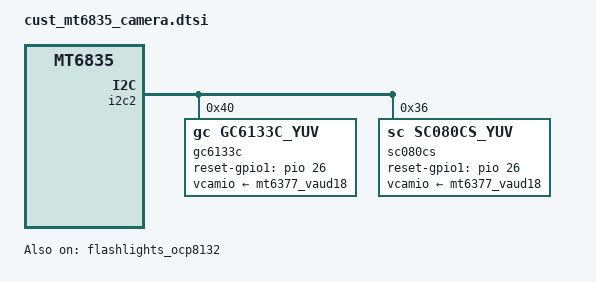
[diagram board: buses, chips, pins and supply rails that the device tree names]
// SPDX-License-Identifier: GPL-2.0
/* Copyright (c) 2020 MediaTek Inc. */
/* CAMERA GPIO standardization */


#include "mediatek/cust_mt6835_camera_common.dtsi"
&kd_camera_hw1 {
	cust-sensor = "ov50d40_truly_main_i_mipi_raw s5kjns_sunny_main_ii_mipi_raw s5kjns_sunny_main_iii_mipi_raw sc520_truly_front_i_mipi_raw gc05a2_qtech_front_ii_mipi_raw";
};

/* 20230620 longcheer zhangfeng5 add QVGA node. begin */
&pio{
        camera_pins_gc6133c_mclk_on: camera_pins_gc6133c_mclk_on {
                pins_cmd_dat {
                        pinmux = <PINMUX_GPIO89__FUNC_CMMCLK1>;
                };
        };
        camera_pins_gc6133c_mclk_off: camera_pins_gc6133c_mclk_off {
                pins_cmd_dat {
                        pinmux = <PINMUX_GPIO89__FUNC_GPIO89>;
                };
        };
        camera_pins_sc080cs_mclk_on: camera_pins_sc080cs_mclk_on {
                pins_cmd_dat {
                        pinmux = <PINMUX_GPIO89__FUNC_CMMCLK1>;
                };
        };
        camera_pins_sc080cs_mclk_off: camera_pins_sc080cs_mclk_off {
                pins_cmd_dat {
                        pinmux = <PINMUX_GPIO89__FUNC_GPIO89>;
                };
        };
};
&i2c2 {
        gc6133c@40 {
                compatible = "gc,gc6133c_yuv";
                reg = <0x40>;
                reset-gpio1 = <&pio 26 0x0>;
                pinctrl-names = "gc6133c_mclk_on",
                                "gc6133c_mclk_off";
                pinctrl-0 = <&camera_pins_gc6133c_mclk_on>;
                pinctrl-1 = <&camera_pins_gc6133c_mclk_off>;
                vcamio-supply = <&mt6377_vaud18>;
                status = "okay";
      };
        sc080cs@36 {
                compatible = "sc,sc080cs_yuv";
                reg = <0x36>;
                reset-gpio1 = <&pio 26 0x0>;
                pinctrl-names = "sc080cs_mclk_on",
                                "sc080cs_mclk_off";
                pinctrl-0 = <&camera_pins_sc080cs_mclk_on>;
                pinctrl-1 = <&camera_pins_sc080cs_mclk_off>;
                vcamio-supply = <&mt6377_vaud18>;
                status = "okay";
      };
};
/* 20230620 longcheer zhangfeng5 add QVGA node. end */

/* 20230629 longcheer zhangfeng5 add flashlight node. begin */
&pio {
	flashlight_pins_default: flashlightdefault {
	};
	flashlight_pins_en_output1: flashlightenoutput1 {
		pins_cmd_dat {
			pinmux = <PINMUX_GPIO148__FUNC_GPIO148>;
			slew-rate = <1>;
			output-high;
		};
	};
	flashlight_pins_en_output0: flashlightenoutput0 {
		pins_cmd_dat {
			pinmux = <PINMUX_GPIO148__FUNC_GPIO148>;
			slew-rate = <1>;
			output-low;
		};
	};
	flashlight_pins_sel_output1: flashlightseloutput1 {
		pins_cmd_dat {
			pinmux = <PINMUX_GPIO150__FUNC_GPIO150>;
			slew-rate = <1>;
			output-high;
		};
	};
	flashlight_pins_sel_output0: flashlightseloutput0 {
		pins_cmd_dat {
			pinmux = <PINMUX_GPIO150__FUNC_GPIO150>;
			slew-rate = <1>;
			output-low;
		};
	};
};
&flashlights_ocp8132 {
	pinctrl-names = "default", "hw_ch0_high",
		"hw_ch0_low", "hw_ch1_high",
		"hw_ch1_low";
	pinctrl-0 = <&flashlight_pins_default>;
	pinctrl-1 = <&flashlight_pins_en_output1>;
	pinctrl-2 = <&flashlight_pins_en_output0>;
	pinctrl-3 = <&flashlight_pins_sel_output1>;
	pinctrl-4 = <&flashlight_pins_sel_output0>;
	status = "okay";
	decouple = <1>;
	channel@1 {
		type = <0>;
		ct = <0>;
		part = <0>;
	};
	channel@2 {
		type = <0>;
		ct = <1>;
		part = <0>;
	};
};
/* 20230629 longcheer zhangfeng5 add flashlight node. end */

